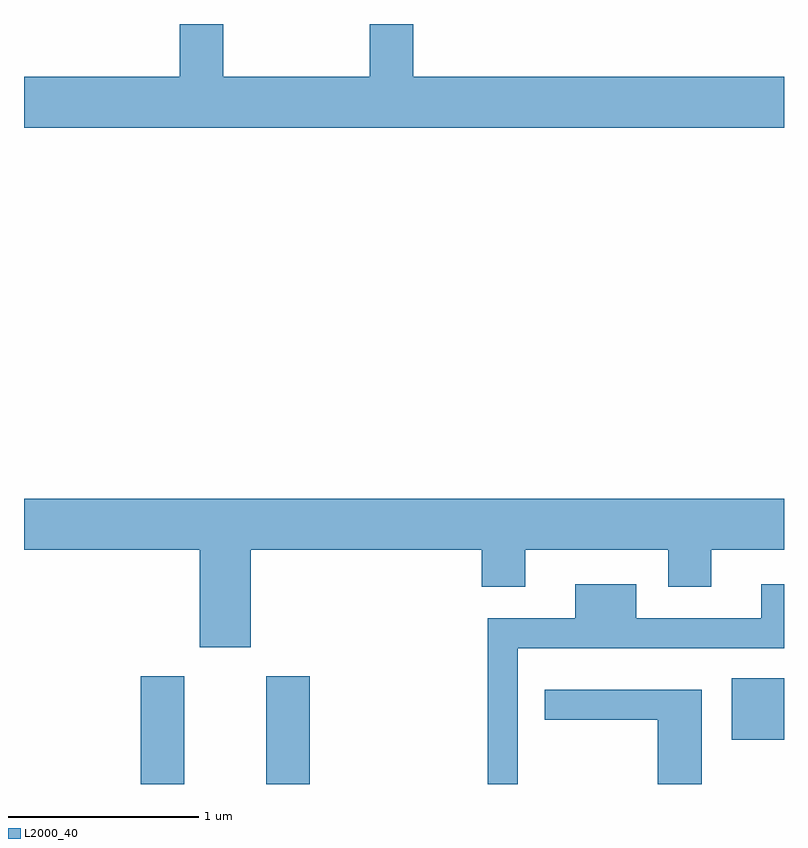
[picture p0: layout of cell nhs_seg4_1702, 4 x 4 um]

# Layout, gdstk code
import gdstk
lib = gdstk.Library(unit=1e-6, precision=1e-09)
def R(c, l, rs):  # rectangles x0, y0, x1, y1
    for r in rs: c.add(gdstk.rectangle(r[:2], r[2:], *l))
def P(c, l, *ps):  # polygons
    for p in ps: c.add(gdstk.Polygon(p, *l))
L2000_40 = (2000, 40)

nhs_seg4_1702 = lib.new_cell('nhs_seg4_1702')
R(nhs_seg4_1702, L2000_40, [(236.226,1257.982,236.454,1258.549), (236.886,1257.982,237.114,1258.549), (239.336,1258.216,239.611,1258.539)])
P(nhs_seg4_1702, L2000_40, [(239.611,1261.704),(237.659,1261.704),(237.659,1261.982),(237.431,1261.982),(237.431,1261.704),(236.659,1261.704),(236.659,1261.982),(236.431,1261.982),(236.431,1261.704),(235.611,1261.704),(235.611,1261.436),(239.611,1261.436)],
  [(236.804,1259.216),(238.021,1259.216),(238.021,1259.021),(238.249,1259.021),(238.249,1259.216),(239.001,1259.216),(239.001,1259.021),(239.229,1259.021),(239.229,1259.216),(239.611,1259.216),(239.611,1259.484),(235.611,1259.484),(235.611,1259.216),(236.536,1259.216),(236.536,1258.701),(236.804,1258.701)],
  [(238.209,1258.696),(239.611,1258.696),(239.611,1259.034),(239.491,1259.034),(239.491,1258.854),(238.834,1258.854),(238.834,1259.034),(238.511,1259.034),(238.511,1258.854),(238.051,1258.854),(238.051,1257.982),(238.209,1257.982)],
  [(239.179,1258.479),(238.353,1258.479),(238.353,1258.321),(238.946,1258.321),(238.946,1257.982),(239.179,1257.982)])

lib.write_gds('nhs_seg4_1702.gds')
